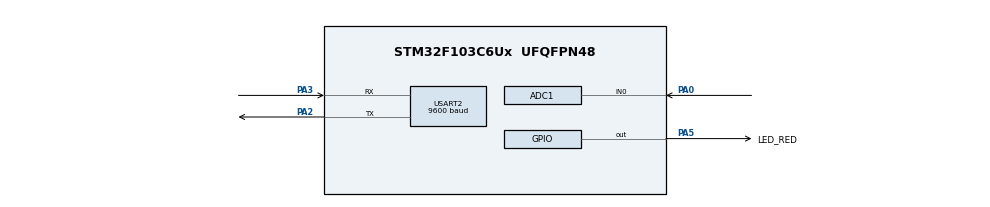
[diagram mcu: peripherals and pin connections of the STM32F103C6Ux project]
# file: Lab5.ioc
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ADC1.Channel-0\#ChannelRegularConversion=ADC_CHANNEL_0
ADC1.ContinuousConvMode=ENABLE
ADC1.NbrOfConversionFlag=1
ADC1.Rank-0\#ChannelRegularConversion=1
ADC1.SamplingTime-0\#ChannelRegularConversion=ADC_SAMPLETIME_1CYCLE_5
ADC1.master=1
Mcu.Family=STM32F1
Mcu.Name=STM32F103C6Ux
Mcu.Package=UFQFPN48
NVIC.PriorityGroup=NVIC_PRIORITYGROUP_4
NVIC.TIM2_IRQn=true\:0\:0\:false\:false\:true\:true\:true
NVIC.USART2_IRQn=true\:0\:0\:false\:false\:true\:true\:true
PA0-WKUP.Signal=ADCx_IN0
PA2.Mode=Asynchronous
PA2.Signal=USART2_TX
PA3.Mode=Asynchronous
PA3.Signal=USART2_RX
PA5.GPIO_Label=LED_RED
PA5.Signal=GPIO_Output
ProjectManager.HeapSize=0x200
ProjectManager.StackSize=0x400
ProjectManager.TargetToolchain=STM32CubeIDE
RCC.APB1Freq_Value=8000000
RCC.APB2Freq_Value=8000000
SH.ADCx_IN0.0=ADC1_IN0,IN0
TIM2.Period=9
TIM2.Prescaler=7999
USART2.BaudRate=9600
USART2.VirtualMode=VM_ASYNC
VP_SYS_VS_ND.Mode=No_Debug
VP_TIM2_VS_ClockSourceINT.Mode=Internal
board=custom

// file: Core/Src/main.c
/* USER CODE BEGIN Header */
/**
  ******************************************************************************
  * @file           : main.c
  * @brief          : Main program body
  ******************************************************************************
  * @attention
  *
  * <h2><center>&copy; Copyright (c) 2024 STMicroelectronics.
  * All rights reserved.</center></h2>
  *
  * This software component is licensed by ST under BSD 3-Clause license,
  * the "License"; You may not use this file except in compliance with the
  * License. You may obtain a copy of the License at:
  *                        opensource.org/licenses/BSD-3-Clause
  *
  ******************************************************************************
  */
/* USER CODE END Header */
#include "main.h"

/* USER CODE BEGIN Includes */
#include "timer.h"
#include "commandparser.h"
/* USER CODE END Includes */

ADC_HandleTypeDef hadc1;

TIM_HandleTypeDef htim2;

UART_HandleTypeDef huart2;

void SystemClock_Config(void);
static void MX_GPIO_Init(void);
static void MX_ADC1_Init(void);
static void MX_TIM2_Init(void);
static void MX_USART2_UART_Init(void);

/* USER CODE BEGIN 0 */
uint32_t ADC_value = 0;
char str[32];
uint8_t temp = 0;
uint8_t buffer[MAX_BUFFER_SIZE];
uint8_t index_buffer = 0;
uint8_t buffer_flag = 0;
#define DELETE_CHAR 0x08

void HAL_UART_RxCpltCallback(UART_HandleTypeDef *huart){
    if(huart->Instance == USART2){
    	if (temp==DELETE_CHAR){
			if (index_buffer>0){
				index_buffer--;
			}

			HAL_UART_Transmit(&huart2, (uint8_t *)"\b \b", 3, 50); // for the termination of the backspace
    	}
    	else {
    		if (temp=='!'){
    			index_buffer = 0;
    		}
			HAL_UART_Transmit(&huart2, &temp, 1, 50);
			buffer[index_buffer++] = temp;
			if(index_buffer == MAX_BUFFER_SIZE) index_buffer = 0;
    	}
			buffer_flag = 1;
			HAL_UART_Receive_IT(huart, &temp, 1);
    }
}
/* USER CODE END 0 */

int main(void)
{

  /* MCU Configuration--------------------------------------------------------*/

  /* Reset of all peripherals, Initializes the Flash interface and the Systick. */
  HAL_Init();

  /* Configure the system clock */
  SystemClock_Config();

  /* Initialize all configured peripherals */
  MX_GPIO_Init();
  MX_ADC1_Init();
  MX_TIM2_Init();
  MX_USART2_UART_Init();
  /* USER CODE BEGIN 2 */
  HAL_TIM_Base_Start_IT(&htim2);
  HAL_UART_Receive_IT(&huart2, &temp, 1);
  setTimer1(100);
  setTimer0(100);
  /* USER CODE END 2 */

  /* Infinite loop */
  while (1)
  {

    /* USER CODE BEGIN 3 */
	  if (buffer_flag == 1) {
	  	command_parser_fsm();
	  	buffer_flag = 0;
	  }
	  uart_communiation_fsm();
  }
  /* USER CODE END 3 */
}

void SystemClock_Config(void)
{
  RCC_OscInitTypeDef RCC_OscInitStruct = {0};
  RCC_ClkInitTypeDef RCC_ClkInitStruct = {0};
  RCC_PeriphCLKInitTypeDef PeriphClkInit = {0};

  /** Initializes the RCC Oscillators according to the specified parameters
  * in the RCC_OscInitTypeDef structure.
  */
  RCC_OscInitStruct.OscillatorType = RCC_OSCILLATORTYPE_HSI;
  RCC_OscInitStruct.HSIState = RCC_HSI_ON;
  RCC_OscInitStruct.HSICalibrationValue = RCC_HSICALIBRATION_DEFAULT;
  RCC_OscInitStruct.PLL.PLLState = RCC_PLL_NONE;
  if (HAL_RCC_OscConfig(&RCC_OscInitStruct) != HAL_OK)
  {
    Error_Handler();
  }
  /** Initializes the CPU, AHB and APB buses clocks
  */
  RCC_ClkInitStruct.ClockType = RCC_CLOCKTYPE_HCLK|RCC_CLOCKTYPE_SYSCLK
                              |RCC_CLOCKTYPE_PCLK1|RCC_CLOCKTYPE_PCLK2;
  RCC_ClkInitStruct.SYSCLKSource = RCC_SYSCLKSOURCE_HSI;
  RCC_ClkInitStruct.AHBCLKDivider = RCC_SYSCLK_DIV1;
  RCC_ClkInitStruct.APB1CLKDivider = RCC_HCLK_DIV1;
  RCC_ClkInitStruct.APB2CLKDivider = RCC_HCLK_DIV1;

  if (HAL_RCC_ClockConfig(&RCC_ClkInitStruct, FLASH_LATENCY_0) != HAL_OK)
  {
    Error_Handler();
  }
  PeriphClkInit.PeriphClockSelection = RCC_PERIPHCLK_ADC;
  PeriphClkInit.AdcClockSelection = RCC_ADCPCLK2_DIV2;
  if (HAL_RCCEx_PeriphCLKConfig(&PeriphClkInit) != HAL_OK)
  {
    Error_Handler();
  }
}

static void MX_ADC1_Init(void)
{

  ADC_ChannelConfTypeDef sConfig = {0};

  /** Common config
  */
  hadc1.Instance = ADC1;
  hadc1.Init.ScanConvMode = ADC_SCAN_DISABLE;
  hadc1.Init.ContinuousConvMode = ENABLE;
  hadc1.Init.DiscontinuousConvMode = DISABLE;
  hadc1.Init.ExternalTrigConv = ADC_SOFTWARE_START;
  hadc1.Init.DataAlign = ADC_DATAALIGN_RIGHT;
  hadc1.Init.NbrOfConversion = 1;
  if (HAL_ADC_Init(&hadc1) != HAL_OK)
  {
    Error_Handler();
  }
  /** Configure Regular Channel
  */
  sConfig.Channel = ADC_CHANNEL_0;
  sConfig.Rank = ADC_REGULAR_RANK_1;
  sConfig.SamplingTime = ADC_SAMPLETIME_1CYCLE_5;
  if (HAL_ADC_ConfigChannel(&hadc1, &sConfig) != HAL_OK)
  {
    Error_Handler();
  }

}

static void MX_TIM2_Init(void)
{

  TIM_ClockConfigTypeDef sClockSourceConfig = {0};
  TIM_MasterConfigTypeDef sMasterConfig = {0};

  htim2.Instance = TIM2;
  htim2.Init.Prescaler = 7999;
  htim2.Init.CounterMode = TIM_COUNTERMODE_UP;
  htim2.Init.Period = 9;
  htim2.Init.ClockDivision = TIM_CLOCKDIVISION_DIV1;
  htim2.Init.AutoReloadPreload = TIM_AUTORELOAD_PRELOAD_DISABLE;
  if (HAL_TIM_Base_Init(&htim2) != HAL_OK)
  {
    Error_Handler();
  }
  sClockSourceConfig.ClockSource = TIM_CLOCKSOURCE_INTERNAL;
  if (HAL_TIM_ConfigClockSource(&htim2, &sClockSourceConfig) != HAL_OK)
  {
    Error_Handler();
  }
  sMasterConfig.MasterOutputTrigger = TIM_TRGO_RESET;
  sMasterConfig.MasterSlaveMode = TIM_MASTERSLAVEMODE_DISABLE;
  if (HAL_TIMEx_MasterConfigSynchronization(&htim2, &sMasterConfig) != HAL_OK)
  {
    Error_Handler();
  }

}

static void MX_USART2_UART_Init(void)
{

  huart2.Instance = USART2;
  huart2.Init.BaudRate = 9600;
  huart2.Init.WordLength = UART_WORDLENGTH_8B;
  huart2.Init.StopBits = UART_STOPBITS_1;
  huart2.Init.Parity = UART_PARITY_NONE;
  huart2.Init.Mode = UART_MODE_TX_RX;
  huart2.Init.HwFlowCtl = UART_HWCONTROL_NONE;
  huart2.Init.OverSampling = UART_OVERSAMPLING_16;
  if (HAL_UART_Init(&huart2) != HAL_OK)
  {
    Error_Handler();
  }

}

static void MX_GPIO_Init(void)
{
  GPIO_InitTypeDef GPIO_InitStruct = {0};

  /* GPIO Ports Clock Enable */
  __HAL_RCC_GPIOA_CLK_ENABLE();

  /*Configure GPIO pin Output Level */
  HAL_GPIO_WritePin(LED_RED_GPIO_Port, LED_RED_Pin, GPIO_PIN_RESET);

  /*Configure GPIO pin : LED_RED_Pin */
  GPIO_InitStruct.Pin = LED_RED_Pin;
  GPIO_InitStruct.Mode = GPIO_MODE_OUTPUT_PP;
  GPIO_InitStruct.Pull = GPIO_NOPULL;
  GPIO_InitStruct.Speed = GPIO_SPEED_FREQ_LOW;
  HAL_GPIO_Init(LED_RED_GPIO_Port, &GPIO_InitStruct);

}

/* USER CODE BEGIN 4 */
void HAL_TIM_PeriodElapsedCallback(TIM_HandleTypeDef *htim){
    timer_run();
}
/* USER CODE END 4 */

void Error_Handler(void)
{
  __disable_irq();
  while (1)
  {
  }
}

/************************ (C) COPYRIGHT STMicroelectronics *****END OF FILE****/
